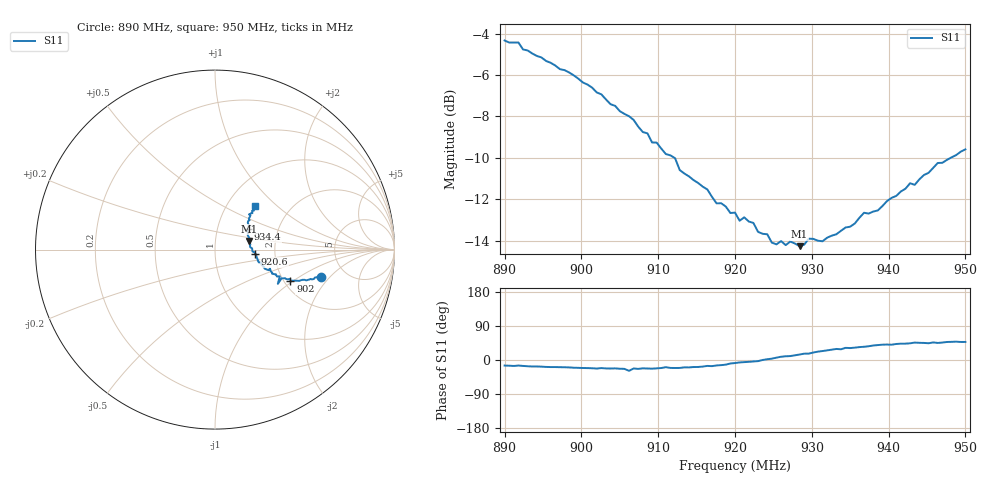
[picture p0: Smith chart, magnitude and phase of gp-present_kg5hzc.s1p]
# HZ S RI R 50
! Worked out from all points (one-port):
!   101 points, 890 MHz to 950 MHz, reference 50 ohm
!   lowest |S11| = -14.3 dB at 928.4 MHz (marker M1), VSWR 1.48, Z = 72.7 + j7.27 ohm
!   |S11| at or under -10 dB: 912.1 MHz to 948.1 MHz (35.93 MHz wide, 3.86 % of centre)
!   S11 on the Smith chart (normalised r, x): 890 MHz: 3.27, -1.58; 902 MHz: 2.16, -0.95; 920.6 MHz: 1.57, -0.08; 934.4 MHz: 1.40, +0.33; 950 MHz: 1.34, +0.74
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8.9e8  0.5879 -0.1527
8.918e8  0.5809 -0.1518
8.924e8  0.5564 -0.1557
8.978e8  0.4866 -0.1689
9.02e8  0.4202 -0.1747
9.05e8  0.3774 -0.1605
9.056e8  0.3708 -0.1602
9.062e8  0.35 -0.1908
9.068e8  0.3611 -0.1488
9.098e8  0.319 -0.1294
9.11e8  0.3056 -0.1047
9.122e8  0.2946 -0.1134
9.128e8  0.2761 -0.1057
9.164e8  0.2556 -0.0713
9.176e8  0.238 -0.0609
9.2e8  0.231 -0.0328
9.206e8  0.2217 -0.0247
9.224e8  0.2198 -0.0148
9.248e8  0.1971 0.0123
9.278e8  0.192 0.0421
9.284e8  0.1876 0.0482
9.314e8  0.1822 0.08
9.344e8  0.182 0.1142
9.35e8  0.1841 0.1126
9.428e8  0.1974 0.1911
9.434e8  0.1892 0.1958
9.464e8  0.2173 0.2175
9.5e8  0.2234 0.245
